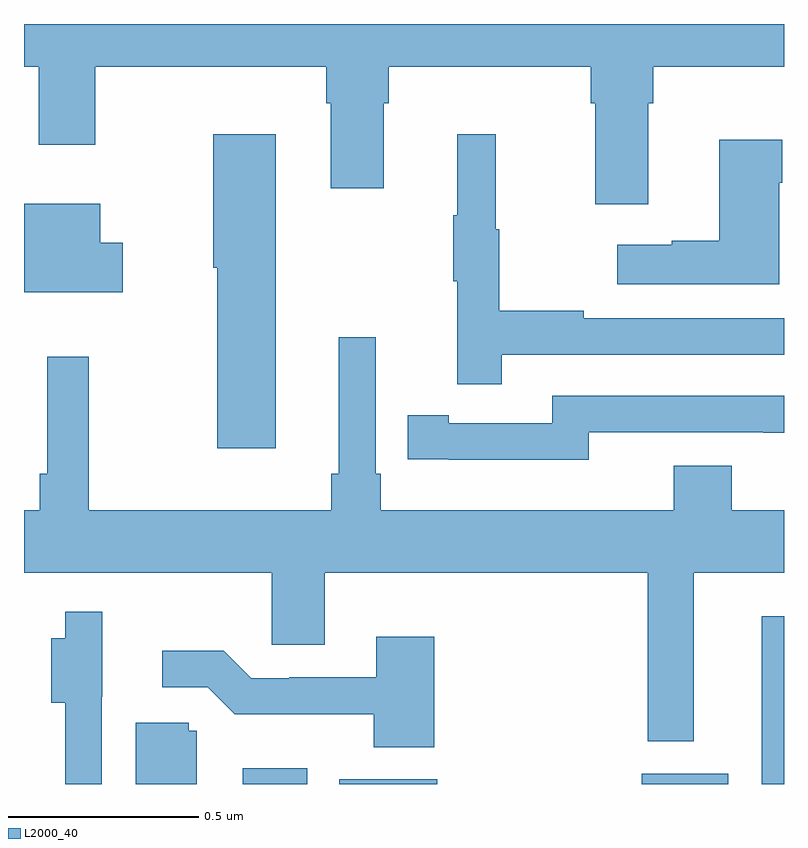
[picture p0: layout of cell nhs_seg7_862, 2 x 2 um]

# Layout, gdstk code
import gdstk
lib = gdstk.Library(unit=1e-6, precision=1e-09)
def R(c, l, rs):  # rectangles x0, y0, x1, y1
    for r in rs: c.add(gdstk.rectangle(r[:2], r[2:], *l))
def P(c, l, *ps):  # polygons
    for p in ps: c.add(gdstk.Polygon(p, *l))
L2000_40 = (2000, 40)

nhs_seg7_862 = lib.new_cell('nhs_seg7_862')
R(nhs_seg7_862, L2000_40, [(122.576,1060,122.745,1060.042), (122.83,1060,123.088,1060.012), (123.626,1060,123.853,1060.027), (123.941,1060,124,1060.441)])
P(nhs_seg7_862, L2000_40, [(123.643,1061.792),(123.656,1061.792),(123.656,1061.888),(124,1061.888),(124,1062),(122,1062),(122,1061.888),(122.039,1061.888),(122.039,1061.682),(122.187,1061.682),(122.187,1061.888),(122.795,1061.888),(122.795,1061.792),(122.807,1061.792),(122.807,1061.568),(122.947,1061.568),(122.947,1061.792),(122.96,1061.792),(122.96,1061.888),(123.491,1061.888),(123.491,1061.792),(123.503,1061.792),(123.503,1061.526),(123.643,1061.526)],
  [(123.257,1061.13),(124,1061.13),(124,1061.226),(123.473,1061.226),(123.473,1061.246),(123.25,1061.246),(123.25,1061.46),(123.242,1061.46),(123.242,1061.71),(123.14,1061.71),(123.14,1061.497),(123.129,1061.497),(123.129,1061.323),(123.14,1061.323),(123.14,1061.052),(123.257,1061.052)],
  [(122.662,1061.71),(122.498,1061.71),(122.498,1061.358),(122.509,1061.358),(122.509,1060.884),(122.662,1060.884)],
  [(123.988,1061.582),(123.996,1061.582),(123.996,1061.695),(123.83,1061.695),(123.83,1061.429),(123.704,1061.429),(123.704,1061.419),(123.561,1061.419),(123.561,1061.315),(123.988,1061.315)],
  [(122.26,1061.424),(122.2,1061.424),(122.2,1061.527),(122,1061.527),(122,1061.294),(122.26,1061.294)],
  [(123.763,1060.556),(124,1060.556),(124,1060.72),(123.863,1060.72),(123.863,1060.837),(123.71,1060.837),(123.71,1060.72),(122.939,1060.72),(122.939,1060.816),(122.925,1060.816),(122.925,1061.176),(122.828,1061.176),(122.828,1060.816),(122.809,1060.816),(122.809,1060.72),(122.17,1060.72),(122.17,1061.125),(122.061,1061.125),(122.061,1060.816),(122.041,1060.816),(122.041,1060.72),(122,1060.72),(122,1060.556),(122.652,1060.556),(122.652,1060.366),(122.791,1060.366),(122.791,1060.556),(123.642,1060.556),(123.642,1060.112),(123.763,1060.112)],
  [(123.486,1060.926),(123.946,1060.926),(123.946,1060.925),(124,1060.925),(124,1061.022),(123.39,1061.022),(123.39,1060.95),(123.118,1060.95),(123.118,1060.97),(123.01,1060.97),(123.01,1060.854),(123.118,1060.854),(123.118,1060.853),(123.486,1060.853)],
  [(122.205,1060.23),(122.206,1060.23),(122.206,1060.453),(122.108,1060.453),(122.108,1060.384),(122.072,1060.384),(122.072,1060.214),(122.109,1060.214),(122.109,1060),(122.205,1060)],
  [(123.08,1060.387),(122.927,1060.387),(122.927,1060.281),(122.698,1060.281),(122.698,1060.278),(122.598,1060.278),(122.525,1060.351),(122.364,1060.351),(122.364,1060.254),(122.484,1060.254),(122.555,1060.184),(122.92,1060.184),(122.92,1060.097),(123.08,1060.097)],
  [(122.455,1060.14),(122.433,1060.14),(122.433,1060.161),(122.294,1060.161),(122.294,1060),(122.455,1060)])

lib.write_gds('nhs_seg7_862.gds')
